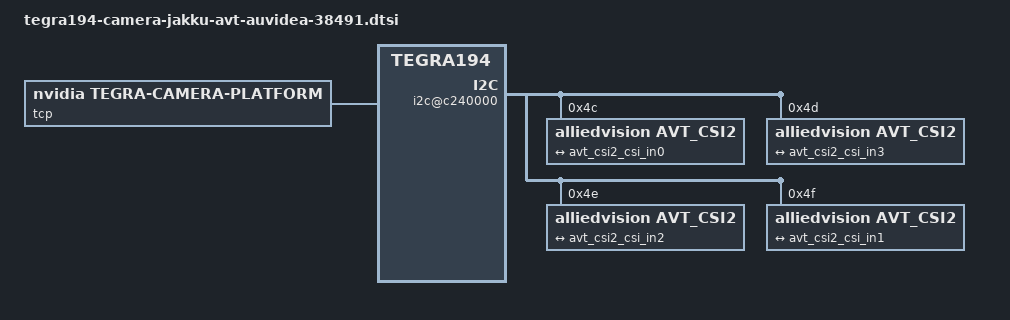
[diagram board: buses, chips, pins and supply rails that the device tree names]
/*
 * Copyright (c) 2018-2020, NVIDIA CORPORATION.  All rights reserved.
 *
 * This program is free software; you can redistribute it and/or modify
 * it under the terms of the GNU General Public License as published by
 * the Free Software Foundation; either version 2 of the License, or
 * (at your option) any later version.
 *
 * This program is distributed in the hope that it will be useful, but WITHOUT
 * ANY WARRANTY; without even the implied warranty of MERCHANTABILITY or
 * FITNESS FOR A PARTICULAR PURPOSE.  See the GNU General Public License for
 * more details.
 *
 * You should have received a copy of the GNU General Public License
 * along with this program.  If not, see <http://www.gnu.org/licenses/>.
 */
#include <dt-bindings/media/camera.h>

/ {
	host1x {
		vi@15c10000  {
			num-channels = <4>;
			ports {
				#address-cells = <1>;
				#size-cells = <0>;
				vi_port0: port@0 {
					reg = <0>;
					avt_csi2_vi_in0: endpoint {
						port-index = <0>;
						bus-width = <4>;
						remote-endpoint = <&avt_csi2_csi_out0>;
					};
				};
				vi_port1: port@1 {
					reg = <1>;
					avt_csi2_vi_in1: endpoint {
						port-index = <4>;
						bus-width = <4>;
						remote-endpoint = <&avt_csi2_csi_out1>;
					};
				};
				vi_port2: port@2 {
					reg = <2>;
					avt_csi2_vi_in2: endpoint {
						port-index = <2>;
						bus-width = <2>;
						remote-endpoint = <&avt_csi2_csi_out2>;
					};
				};
				vi_port3: port@3 {
					reg = <3>;
					avt_csi2_vi_in3: endpoint {
						port-index = <3>;
						bus-width = <2>;
						remote-endpoint = <&avt_csi2_csi_out3>;
					};
				};
			};
		};

		nvcsi@15a00000 {
			num-channels = <4>;
			#address-cells = <1>;
			#size-cells = <0>;
			csi_chan0: channel@0 {
				reg = <0>;
				ports {
					#address-cells = <1>;
					#size-cells = <0>;
					csi_chan0_port0: port@0 {
						reg = <0>;
						avt_csi2_csi_in0: endpoint@0 {
							port-index = <0>;
							bus-width = <4>;
							remote-endpoint = <&avt_csi2_out0>;
						};
					};
					csi_chan0_port1: port@1 {
						reg = <1>;
						avt_csi2_csi_out0: endpoint@1 {
							remote-endpoint = <&avt_csi2_vi_in0>;
						};
					};
				};
			};
			csi_chan1: channel@1 {
				reg = <1>;
				ports {
					#address-cells = <1>;
					#size-cells = <0>;
					csi_chan1_port0: port@0 {
						reg = <0>;
						avt_csi2_csi_in1: endpoint@0 {
							port-index = <4>;
							bus-width = <4>;
							remote-endpoint = <&avt_csi2_out1>;
						};
					};
					csi_chan1_port1: port@1 {
						reg = <1>;
						avt_csi2_csi_out1: endpoint@1 {
							remote-endpoint = <&avt_csi2_vi_in1>;
						};
					};
				};
			};
			csi_chan2: channel@2 {
				reg = <2>;
				ports {
					#address-cells = <1>;
					#size-cells = <0>;
					csi_chan2_port0: port@0 {
						reg = <0>;
						avt_csi2_csi_in2: endpoint@0 {
							port-index = <2>;
							bus-width = <2>;
							remote-endpoint = <&avt_csi2_out2>;
						};
					};
					csi_chan2_port1: port@1 {
						reg = <1>;
						avt_csi2_csi_out2: endpoint@1 {
							remote-endpoint = <&avt_csi2_vi_in2>;
						};
					};
				};
			};
			csi_chan3: channel@3 {
				reg = <3>;
				ports {
					#address-cells = <1>;
					#size-cells = <0>;
					csi_chan3_port0: port@0 {
						reg = <0>;
						avt_csi2_csi_in3: endpoint@0 {
							port-index = <3>;
							bus-width = <2>;
							remote-endpoint = <&avt_csi2_out3>;
						};
					};
					csi_chan3_port1: port@1 {
						reg = <1>;
						avt_csi2_csi_out3: endpoint@1 {
							remote-endpoint = <&avt_csi2_vi_in3>;
						};
					};
				};
			};
		};
	};

  i2c@c240000 {
    avt_csi2@4c {
      compatible = "alliedvision,avt_csi2";
      /* I2C device address */
      reg = <0x4c>;

      status = "okay";

      /* Camera -> Serializer MIPI config */
      csi_clk_freq = <400000000>;
      csi_lanes = <4>;

      /* V4L2 device node location */
      devnode = "video0";

      mode0 {
        num_lanes = "4";
        tegra_sinterface = "serial_a";
        discontinuous_clk = "no";
        cil_settletime = "0";
        embedded_metadata_height = "0";

        /* not verified: */
        mclk_khz = "24000";
        phy_mode = "DPHY";
        dpcm_enable = "false";

        active_w = "5488";
        active_h = "4112";
        pixel_t = "bayer_bggr";
        readout_orientation = "0";
        line_length = "5488";
        inherent_gain = "1";
        mclk_multiplier = "31.25";
        pix_clk_hz = "750000000";

        gain_factor = "16";
        framerate_factor = "1000000";
        exposure_factor = "1000000";
        min_gain_val = "16"; /* 1.0 */
        max_gain_val = "256"; /* 16.0 */
        step_gain_val = "1"; /* 0.125 */
        min_hdr_ratio = "1";
        max_hdr_ratio = "64";
        min_framerate = "1500000"; /* 1.5 */
        max_framerate = "30000000"; /* 30 */
        step_framerate = "1";
        min_exp_time = "34"; /* us */
        max_exp_time = "550385"; /* us */
        step_exp_time = "1";
      };

      ports {
        #address-cells = <1>;
        #size-cells = <0>;
        port@0 {
          reg = <0>;
          avt_csi2_out0: endpoint {
            port-index = <0>;
            bus-width = <4>;
            remote-endpoint = <&avt_csi2_csi_in0>;
          };
        };
      };
    };

    avt_csi2@4d {
      compatible = "alliedvision,avt_csi2";
      /* I2C device address */
      reg = <0x4d>;

      status = "okay";

      /* V4L2 device node location */
      devnode = "video3";

      /* Camera -> Serializer MIPI config */
      csi_clk_freq = <400000000>;
      csi_lanes = <2>;

      mode0 {
        num_lanes = "2";
        tegra_sinterface = "serial_g";
        discontinuous_clk = "no";
        cil_settletime = "0";
        embedded_metadata_height = "0";

        /* not verified: */
        mclk_khz = "24000";
        phy_mode = "DPHY";
        dpcm_enable = "false";

        active_w = "5488";
        active_h = "4112";
        pixel_t = "bayer_bggr";
        readout_orientation = "0";
        line_length = "5488";
        inherent_gain = "1";
        mclk_multiplier = "31.25";
        pix_clk_hz = "750000000";

        gain_factor = "16";
        framerate_factor = "1000000";
        exposure_factor = "1000000";
        min_gain_val = "16"; /* 1.0 */
        max_gain_val = "256"; /* 16.0 */
        step_gain_val = "1"; /* 0.125 */
        min_hdr_ratio = "1";
        max_hdr_ratio = "64";
        min_framerate = "1500000"; /* 1.5 */
        max_framerate = "30000000"; /* 30 */
        step_framerate = "1";
        min_exp_time = "34"; /* us */
        max_exp_time = "550385"; /* us */
        step_exp_time = "1";
      };

      ports {
        #address-cells = <1>;
        #size-cells = <0>;
        port@0 {
          reg = <0>;
          avt_csi2_out3: endpoint {
            port-index = <3>;
            bus-width = <2>;
            remote-endpoint = <&avt_csi2_csi_in3>;
          };
        };
      };
    };

    avt_csi2@4e {
      compatible = "alliedvision,avt_csi2";
      /* I2C device address */
      reg = <0x4e>;

      status = "okay";

      /* V4L2 device node location */
      devnode = "video2";

      /* Camera -> Serializer MIPI config */
      csi_clk_freq = <400000000>;
      csi_lanes = <2>;

      mode0 {
        num_lanes = "2";
        tegra_sinterface = "serial_e";
        discontinuous_clk = "no";
        cil_settletime = "0";
        embedded_metadata_height = "0";

        /* not verified: */
        mclk_khz = "24000";
        phy_mode = "DPHY";
        dpcm_enable = "false";

        active_w = "5488";
        active_h = "4112";
        pixel_t = "bayer_bggr";
        readout_orientation = "0";
        line_length = "5488";
        inherent_gain = "1";
        mclk_multiplier = "31.25";
        pix_clk_hz = "750000000";

        gain_factor = "16";
        framerate_factor = "1000000";
        exposure_factor = "1000000";
        min_gain_val = "16"; /* 1.0 */
        max_gain_val = "256"; /* 16.0 */
        step_gain_val = "1"; /* 0.125 */
        min_hdr_ratio = "1";
        max_hdr_ratio = "64";
        min_framerate = "1500000"; /* 1.5 */
        max_framerate = "30000000"; /* 30 */
        step_framerate = "1";
        min_exp_time = "34"; /* us */
        max_exp_time = "550385"; /* us */
        step_exp_time = "1";
      };

      ports {
        #address-cells = <1>;
        #size-cells = <0>;
        port@0 {
          reg = <0>;
          avt_csi2_out2: endpoint {
            port-index = <2>;
            bus-width = <2>;
            remote-endpoint = <&avt_csi2_csi_in2>;
          };
        };
      };
    };

    avt_csi2@4f {
      compatible = "alliedvision,avt_csi2";
      /* I2C device address */
      reg = <0x4f>;

      status = "okay";

      /* V4L2 device node location */
      devnode = "video1";

      /* Camera -> Serializer MIPI config */
      csi_clk_freq = <400000000>;
      csi_lanes = <4>;

      mode0 {
        num_lanes = "4";
        tegra_sinterface = "serial_c";
        discontinuous_clk = "no";
        cil_settletime = "0";
        embedded_metadata_height = "0";

        /* not verified: */
        mclk_khz = "24000";
        phy_mode = "DPHY";
        dpcm_enable = "false";

        active_w = "5488";
        active_h = "4112";
        pixel_t = "bayer_bggr";
        readout_orientation = "0";
        line_length = "5488";
        inherent_gain = "1";
        mclk_multiplier = "31.25";
        pix_clk_hz = "750000000";

        gain_factor = "16";
        framerate_factor = "1000000";
        exposure_factor = "1000000";
        min_gain_val = "16"; /* 1.0 */
        max_gain_val = "256"; /* 16.0 */
        step_gain_val = "1"; /* 0.125 */
        min_hdr_ratio = "1";
        max_hdr_ratio = "64";
        min_framerate = "1500000"; /* 1.5 */
        max_framerate = "30000000"; /* 30 */
        step_framerate = "1";
        min_exp_time = "34"; /* us */
        max_exp_time = "550385"; /* us */
        step_exp_time = "1";
      };

      ports {
        #address-cells = <1>;
        #size-cells = <0>;
        port@0 {
          reg = <0>;
          avt_csi2_out1: endpoint {
            port-index = <4>;
            bus-width = <4>;
            remote-endpoint = <&avt_csi2_csi_in1>;
          };
        };
      };
    };
  };

	tcp: tegra-camera-platform {
		compatible = "nvidia, tegra-camera-platform";
		/**
		* Physical settings to calculate max ISO BW
		*
		* num_csi_lanes = <>;
		* Total number of CSI lanes when all cameras are active
		*
		* max_lane_speed = <>;
		* Max lane speed in Kbit/s
		*
		* min_bits_per_pixel = <>;
		* Min bits per pixel
		*
		* vi_peak_byte_per_pixel = <>;
		* Max byte per pixel for the VI ISO case
		*
		* vi_bw_margin_pct = <>;
		* Vi bandwidth margin in percentage
		*
		* max_pixel_rate = <>;
		* Max pixel rate in Kpixel/s for the ISP ISO case
		*
		* isp_peak_byte_per_pixel = <>;
		* Max byte per pixel for the ISP ISO case
		*
		* isp_bw_margin_pct = <>;
		* Isp bandwidth margin in percentage
		*/
		num_csi_lanes = <10>;
		max_lane_speed = <1500000>;
		min_bits_per_pixel = <10>;
		vi_peak_byte_per_pixel = <2>;
		vi_bw_margin_pct = <25>;
		max_pixel_rate = <240000>;
		isp_peak_byte_per_pixel = <5>;
		isp_bw_margin_pct = <25>;

		/**
		 * The general guideline for naming badge_info contains 3 parts, and is as follows,
		 * The first part is the camera_board_id for the module; if the module is in a FFD
		 * platform, then use the platform name for this part.
		 * The second part contains the position of the module, ex. "rear" or "front".
		 * The third part contains the last 6 characters of a part number which is found
		 * in the module's specsheet from the vendor.
		 */
		modules {
			cam_module0: module0 {
				badge = "jakku_front_RBP194";
				position = "front";
				orientation = "1";
				cam_module0_drivernode0: drivernode0 {
					pcl_id = "v4l2_sensor";
					devname = "imx219 9-0010";
					proc-device-tree = "/proc/device-tree/cam_i2cmux/i2c@0/rbpcv2_imx219_a@10";
				};
			};
			cam_module1: module1 {
				badge = "jakku_rear_RBP194";
				position = "rear";
				orientation = "1";
				cam_module1_drivernode0: drivernode0 {
					pcl_id = "v4l2_sensor";
					devname = "imx219 10-0010";
					proc-device-tree = "/proc/device-tree/cam_i2cmux/i2c@1/rbpcv2_imx219_c@10";
				};
			};
		};
	};
};

